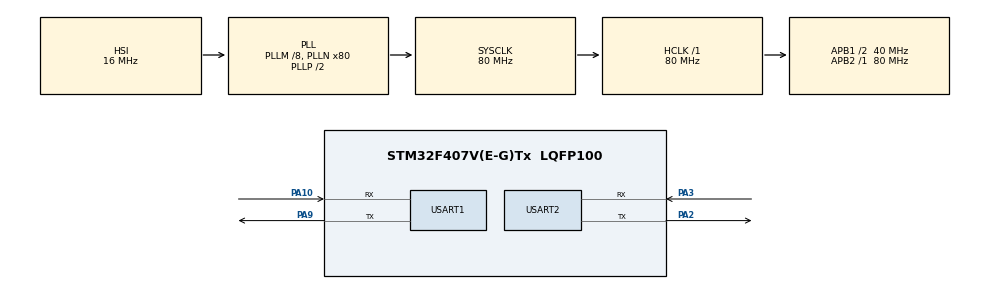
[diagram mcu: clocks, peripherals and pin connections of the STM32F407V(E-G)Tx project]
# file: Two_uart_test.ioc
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Mcu.Family=STM32F4
Mcu.Name=STM32F407V(E-G)Tx
Mcu.Package=LQFP100
NVIC.PriorityGroup=NVIC_PRIORITYGROUP_4
NVIC.USART1_IRQn=true\:0\:0\:false\:false\:true\:true\:true
NVIC.USART2_IRQn=true\:0\:0\:false\:false\:true\:true\:true
PA10.Mode=Asynchronous
PA10.Signal=USART1_RX
PA2.Mode=Asynchronous
PA2.Signal=USART2_TX
PA3.Mode=Asynchronous
PA3.Signal=USART2_RX
PA9.Mode=Asynchronous
PA9.Signal=USART1_TX
PC14-OSC32_IN.Mode=LSE-External-Oscillator
PC14-OSC32_IN.Signal=RCC_OSC32_IN
PC15-OSC32_OUT.Mode=LSE-External-Oscillator
PC15-OSC32_OUT.Signal=RCC_OSC32_OUT
ProjectManager.HeapSize=0x200
ProjectManager.StackSize=0x400
ProjectManager.TargetToolchain=MDK-ARM V5
RCC.48MHZClocksFreq_Value=40000000
RCC.AHBFreq_Value=80000000
RCC.APB1CLKDivider=RCC_HCLK_DIV2
RCC.APB1Freq_Value=40000000
RCC.APB1TimFreq_Value=80000000
RCC.APB2Freq_Value=80000000
RCC.APB2TimFreq_Value=80000000
RCC.CortexFreq_Value=80000000
RCC.HCLKFreq_Value=80000000
RCC.HSE_VALUE=25000000
RCC.HSI_VALUE=16000000
RCC.PLLM=8
RCC.PLLN=80
RCC.SYSCLKFreq_VALUE=80000000
RCC.SYSCLKSource=RCC_SYSCLKSOURCE_PLLCLK
RCC.VCOOutputFreq_Value=160000000
TIM10.Period=10000-1
TIM10.Prescaler=80-1
USART1.VirtualMode=VM_ASYNC
USART2.VirtualMode=VM_ASYNC
VP_TIM10_VS_ClockSourceINT.Mode=Enable_Timer
board=custom

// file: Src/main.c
/* USER CODE BEGIN Header */
/**
  ******************************************************************************
  * @file           : main.c
  * @brief          : Main program body
  ******************************************************************************
  * @attention
  *
  * <h2><center>&copy; Copyright (c) 2021 STMicroelectronics.
  * All rights reserved.</center></h2>
  *
  * This software component is licensed by ST under BSD 3-Clause license,
  * the "License"; You may not use this file except in compliance with the
  * License. You may obtain a copy of the License at:
  *                        opensource.org/licenses/BSD-3-Clause
  *
  ******************************************************************************
  */
/* USER CODE END Header */

#include "main.h"
#include "stdio.h"
#include "string.h"

TIM_HandleTypeDef htim10;

UART_HandleTypeDef huart1;
UART_HandleTypeDef huart2;

#define txBuf_size 20
#define rxBuf_size 10

char txBuf[txBuf_size];
char rxBuf[rxBuf_size];

char rxBuf_receive[2];
uint8_t txFlag = 0;
uint8_t rxFlag = 0;
uint16_t rx_Index = 0;
char temp_receive[rxBuf_size];
int Flag = 0;
char data[rxBuf_size];
/* USER CODE BEGIN PV */
static void serial_write(void* data, size_t len){
	HAL_UART_Transmit(&huart1, (uint8_t*)data, (uint16_t)len, 100);
}

void Serial_write(char data[]){
		char line[txBuf_size];
		snprintf(line, sizeof(line), "%s\n", data);
		serial_write(line, strlen(line));
}

char* Serial_read(){
	strcpy(temp_receive, rxBuf);
	return temp_receive;
}
/* USER CODE END PV */

void SystemClock_Config(void);
static void MX_GPIO_Init(void);
static void MX_TIM10_Init(void);
static void MX_USART1_UART_Init(void);
static void MX_USART2_UART_Init(void);

int main(void)
{

  /* MCU Configuration--------------------------------------------------------*/

  /* Reset of all peripherals, Initializes the Flash interface and the Systick. */
  HAL_Init();

  /* Configure the system clock */
  SystemClock_Config();

  /* Initialize all configured peripherals */
  MX_GPIO_Init();
  MX_TIM10_Init();
  MX_USART1_UART_Init();
  MX_USART2_UART_Init();
  /* USER CODE BEGIN 2 */
	HAL_UART_Receive_IT(&huart2, (uint8_t*)rxBuf_receive, 1);
  /* USER CODE END 2 */

  /* Infinite loop */
  while (1)
  {
		if (strcmp(Serial_read(),"HI")==0){
				Flag = 10;
				Serial_write("HELLO 10");
				HAL_Delay(1000);
		}
		else{
			Flag = 20;
			Serial_write("HELLO 20");
			HAL_Delay(1000);
		}

		//strcpy(data,Serial_read());
  }
}

void SystemClock_Config(void)
{
  RCC_OscInitTypeDef RCC_OscInitStruct = {0};
  RCC_ClkInitTypeDef RCC_ClkInitStruct = {0};

  /** Configure the main internal regulator output voltage
  */
  __HAL_RCC_PWR_CLK_ENABLE();
  __HAL_PWR_VOLTAGESCALING_CONFIG(PWR_REGULATOR_VOLTAGE_SCALE1);
  /** Initializes the CPU, AHB and APB busses clocks
  */
  RCC_OscInitStruct.OscillatorType = RCC_OSCILLATORTYPE_HSI;
  RCC_OscInitStruct.HSIState = RCC_HSI_ON;
  RCC_OscInitStruct.HSICalibrationValue = RCC_HSICALIBRATION_DEFAULT;
  RCC_OscInitStruct.PLL.PLLState = RCC_PLL_ON;
  RCC_OscInitStruct.PLL.PLLSource = RCC_PLLSOURCE_HSI;
  RCC_OscInitStruct.PLL.PLLM = 8;
  RCC_OscInitStruct.PLL.PLLN = 80;
  RCC_OscInitStruct.PLL.PLLP = RCC_PLLP_DIV2;
  RCC_OscInitStruct.PLL.PLLQ = 4;
  if (HAL_RCC_OscConfig(&RCC_OscInitStruct) != HAL_OK)
  {
    Error_Handler();
  }
  /** Initializes the CPU, AHB and APB busses clocks
  */
  RCC_ClkInitStruct.ClockType = RCC_CLOCKTYPE_HCLK|RCC_CLOCKTYPE_SYSCLK
                              |RCC_CLOCKTYPE_PCLK1|RCC_CLOCKTYPE_PCLK2;
  RCC_ClkInitStruct.SYSCLKSource = RCC_SYSCLKSOURCE_PLLCLK;
  RCC_ClkInitStruct.AHBCLKDivider = RCC_SYSCLK_DIV1;
  RCC_ClkInitStruct.APB1CLKDivider = RCC_HCLK_DIV2;
  RCC_ClkInitStruct.APB2CLKDivider = RCC_HCLK_DIV1;

  if (HAL_RCC_ClockConfig(&RCC_ClkInitStruct, FLASH_LATENCY_2) != HAL_OK)
  {
    Error_Handler();
  }
}

static void MX_TIM10_Init(void)
{

  htim10.Instance = TIM10;
  htim10.Init.Prescaler = 80-1;
  htim10.Init.CounterMode = TIM_COUNTERMODE_UP;
  htim10.Init.Period = 10000-1;
  htim10.Init.ClockDivision = TIM_CLOCKDIVISION_DIV1;
  htim10.Init.AutoReloadPreload = TIM_AUTORELOAD_PRELOAD_DISABLE;
  if (HAL_TIM_Base_Init(&htim10) != HAL_OK)
  {
    Error_Handler();
  }

}

static void MX_USART1_UART_Init(void)
{

  huart1.Instance = USART1;
  huart1.Init.BaudRate = 115200;
  huart1.Init.WordLength = UART_WORDLENGTH_8B;
  huart1.Init.StopBits = UART_STOPBITS_1;
  huart1.Init.Parity = UART_PARITY_NONE;
  huart1.Init.Mode = UART_MODE_TX_RX;
  huart1.Init.HwFlowCtl = UART_HWCONTROL_NONE;
  huart1.Init.OverSampling = UART_OVERSAMPLING_16;
  if (HAL_UART_Init(&huart1) != HAL_OK)
  {
    Error_Handler();
  }

}

static void MX_USART2_UART_Init(void)
{

  huart2.Instance = USART2;
  huart2.Init.BaudRate = 115200;
  huart2.Init.WordLength = UART_WORDLENGTH_8B;
  huart2.Init.StopBits = UART_STOPBITS_1;
  huart2.Init.Parity = UART_PARITY_NONE;
  huart2.Init.Mode = UART_MODE_TX_RX;
  huart2.Init.HwFlowCtl = UART_HWCONTROL_NONE;
  huart2.Init.OverSampling = UART_OVERSAMPLING_16;
  if (HAL_UART_Init(&huart2) != HAL_OK)
  {
    Error_Handler();
  }

}

static void MX_GPIO_Init(void)
{

  /* GPIO Ports Clock Enable */
  __HAL_RCC_GPIOC_CLK_ENABLE();
  __HAL_RCC_GPIOA_CLK_ENABLE();

}

/* USER CODE BEGIN 4 */
void HAL_UART_RxCpltCallback(UART_HandleTypeDef *UartHandle)
{
  /* Prevent unused argument(s) compilation warning */
	if(UartHandle->Instance==USART2){
		if (rx_Index == 0){
			for(int i = 0; i < rxBuf_size; i++){
				rxBuf[i] = 0;
			}
		}
		if (rxBuf_receive[0] != 10){
			rxBuf[rx_Index]=rxBuf_receive[0];
			rx_Index++;
		}
		else{
				rx_Index = 0;
		}
	}
  HAL_UART_Receive_IT(&huart2, (uint8_t*)rxBuf_receive, 1);
}

void HAL_TIM_PeriodElapsedCallback(TIM_HandleTypeDef *htim)
{
	 if (htim->Instance == TIM10) {
		 txFlag = 1;
		 //HAL_GPIO_TogglePin(GPIOA, GPIO_PIN_0);
	 }
}
/* USER CODE END 4 */

void Error_Handler(void)
{
}

/************************ (C) COPYRIGHT STMicroelectronics *****END OF FILE****/
